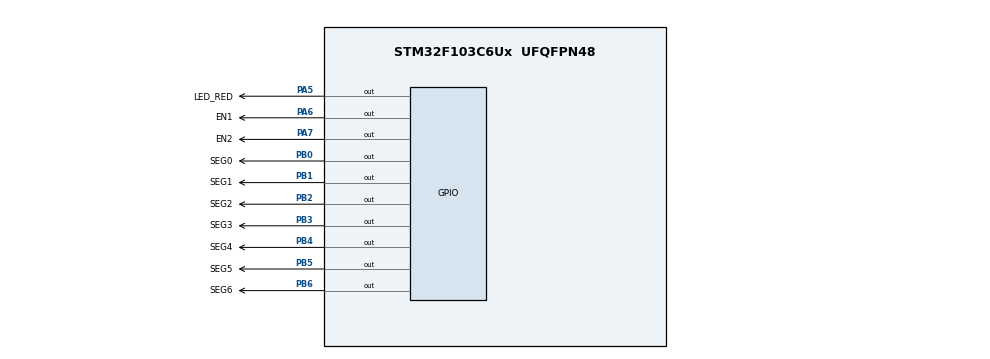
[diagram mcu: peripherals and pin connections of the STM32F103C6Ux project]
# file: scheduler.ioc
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Mcu.Family=STM32F1
Mcu.Name=STM32F103C6Ux
Mcu.Package=UFQFPN48
NVIC.PriorityGroup=NVIC_PRIORITYGROUP_4
NVIC.TIM2_IRQn=true\:0\:0\:false\:false\:true\:true\:true
PA5.GPIO_Label=LED_RED
PA5.Signal=GPIO_Output
PA6.GPIO_Label=EN1
PA6.Signal=GPIO_Output
PA7.GPIO_Label=EN2
PA7.Signal=GPIO_Output
PB0.GPIO_Label=SEG0
PB0.Signal=GPIO_Output
PB1.GPIO_Label=SEG1
PB1.Signal=GPIO_Output
PB2.GPIO_Label=SEG2
PB2.Signal=GPIO_Output
PB3.GPIO_Label=SEG3
PB3.Signal=GPIO_Output
PB4.GPIO_Label=SEG4
PB4.Signal=GPIO_Output
PB5.GPIO_Label=SEG5
PB5.Signal=GPIO_Output
PB6.GPIO_Label=SEG6
PB6.Signal=GPIO_Output
ProjectManager.HeapSize=0x200
ProjectManager.StackSize=0x400
ProjectManager.TargetToolchain=STM32CubeIDE
RCC.APB1Freq_Value=8000000
RCC.APB2Freq_Value=8000000
TIM2.Period=9
TIM2.Prescaler=7999
VP_SYS_VS_ND.Mode=No_Debug
VP_TIM2_VS_ClockSourceINT.Mode=Internal
board=custom

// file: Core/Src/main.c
/* USER CODE BEGIN Header */
/**
  ******************************************************************************
  * @file           : main.c
  * @brief          : Main program body
  ******************************************************************************
  * @attention
  *
  * <h2><center>&copy; Copyright (c) 2022 STMicroelectronics.
  * All rights reserved.</center></h2>
  *
  * This software component is licensed by ST under BSD 3-Clause license,
  * the "License"; You may not use this file except in compliance with the
  * License. You may obtain a copy of the License at:
  *                        opensource.org/licenses/BSD-3-Clause
  *
  ******************************************************************************
  */
/* USER CODE END Header */
#include "main.h"

/* USER CODE BEGIN Includes */
#include "scheduler.h"
/* USER CODE END Includes */

TIM_HandleTypeDef htim2;

void SystemClock_Config(void);
static void MX_TIM2_Init(void);
static void MX_GPIO_Init(void);

/* USER CODE BEGIN 0 */
int index_led = 0;
int led_buffer [2] = {0, 0};
int count = 0;

void display7SEG(int num){
	if (num == 0){
		HAL_GPIO_WritePin (SEG0_GPIO_Port, SEG0_Pin, GPIO_PIN_RESET);
		HAL_GPIO_WritePin (SEG1_GPIO_Port, SEG1_Pin, GPIO_PIN_RESET);
		HAL_GPIO_WritePin (SEG2_GPIO_Port, SEG2_Pin, GPIO_PIN_RESET);
		HAL_GPIO_WritePin (SEG3_GPIO_Port, SEG3_Pin, GPIO_PIN_RESET);
		HAL_GPIO_WritePin (SEG4_GPIO_Port, SEG4_Pin, GPIO_PIN_RESET);
		HAL_GPIO_WritePin (SEG5_GPIO_Port, SEG5_Pin, GPIO_PIN_RESET);
		HAL_GPIO_WritePin (SEG6_GPIO_Port, SEG6_Pin, GPIO_PIN_SET);
	}
	if (num == 1){
		HAL_GPIO_WritePin (SEG0_GPIO_Port, SEG0_Pin, GPIO_PIN_SET);
		HAL_GPIO_WritePin (SEG1_GPIO_Port, SEG1_Pin, GPIO_PIN_RESET);
		HAL_GPIO_WritePin (SEG2_GPIO_Port, SEG2_Pin, GPIO_PIN_RESET);
		HAL_GPIO_WritePin (SEG3_GPIO_Port, SEG3_Pin, GPIO_PIN_SET);
		HAL_GPIO_WritePin (SEG4_GPIO_Port, SEG4_Pin, GPIO_PIN_SET);
		HAL_GPIO_WritePin (SEG5_GPIO_Port, SEG5_Pin, GPIO_PIN_SET);
		HAL_GPIO_WritePin (SEG6_GPIO_Port, SEG6_Pin, GPIO_PIN_SET);
	}
	if (num == 2){
		HAL_GPIO_WritePin (SEG0_GPIO_Port, SEG0_Pin, GPIO_PIN_RESET);
		HAL_GPIO_WritePin (SEG1_GPIO_Port, SEG1_Pin, GPIO_PIN_RESET);
		HAL_GPIO_WritePin (SEG2_GPIO_Port, SEG2_Pin, GPIO_PIN_SET);
		HAL_GPIO_WritePin (SEG3_GPIO_Port, SEG3_Pin, GPIO_PIN_RESET);
		HAL_GPIO_WritePin (SEG4_GPIO_Port, SEG4_Pin, GPIO_PIN_RESET);
		HAL_GPIO_WritePin (SEG5_GPIO_Port, SEG5_Pin, GPIO_PIN_SET);
		HAL_GPIO_WritePin (SEG6_GPIO_Port, SEG6_Pin, GPIO_PIN_RESET);
	}
	if (num == 3){
		HAL_GPIO_WritePin (SEG0_GPIO_Port, SEG0_Pin, GPIO_PIN_RESET);
		HAL_GPIO_WritePin (SEG1_GPIO_Port, SEG1_Pin, GPIO_PIN_RESET);
		HAL_GPIO_WritePin (SEG2_GPIO_Port, SEG2_Pin, GPIO_PIN_RESET);
		HAL_GPIO_WritePin (SEG3_GPIO_Port, SEG3_Pin, GPIO_PIN_RESET);
		HAL_GPIO_WritePin (SEG4_GPIO_Port, SEG4_Pin, GPIO_PIN_SET);
		HAL_GPIO_WritePin (SEG5_GPIO_Port, SEG5_Pin, GPIO_PIN_SET);
		HAL_GPIO_WritePin (SEG6_GPIO_Port, SEG6_Pin, GPIO_PIN_RESET);
	}
	if (num == 4){
		HAL_GPIO_WritePin (SEG0_GPIO_Port, SEG0_Pin, GPIO_PIN_SET);
		HAL_GPIO_WritePin (SEG1_GPIO_Port, SEG1_Pin, GPIO_PIN_RESET);
		HAL_GPIO_WritePin (SEG2_GPIO_Port, SEG2_Pin, GPIO_PIN_RESET);
		HAL_GPIO_WritePin (SEG3_GPIO_Port, SEG3_Pin, GPIO_PIN_SET);
		HAL_GPIO_WritePin (SEG4_GPIO_Port, SEG4_Pin, GPIO_PIN_SET);
		HAL_GPIO_WritePin (SEG5_GPIO_Port, SEG5_Pin, GPIO_PIN_RESET);
		HAL_GPIO_WritePin (SEG6_GPIO_Port, SEG6_Pin, GPIO_PIN_RESET);
	}
	if (num == 5){
		HAL_GPIO_WritePin (SEG0_GPIO_Port, SEG0_Pin, GPIO_PIN_RESET);
		HAL_GPIO_WritePin (SEG1_GPIO_Port, SEG1_Pin, GPIO_PIN_SET);
		HAL_GPIO_WritePin (SEG2_GPIO_Port, SEG2_Pin, GPIO_PIN_RESET);
		HAL_GPIO_WritePin (SEG3_GPIO_Port, SEG3_Pin, GPIO_PIN_RESET);
		HAL_GPIO_WritePin (SEG4_GPIO_Port, SEG4_Pin, GPIO_PIN_SET);
		HAL_GPIO_WritePin (SEG5_GPIO_Port, SEG5_Pin, GPIO_PIN_RESET);
		HAL_GPIO_WritePin (SEG6_GPIO_Port, SEG6_Pin, GPIO_PIN_RESET);
	}
	if (num == 6){
		HAL_GPIO_WritePin (SEG0_GPIO_Port, SEG0_Pin, GPIO_PIN_RESET);
		HAL_GPIO_WritePin (SEG1_GPIO_Port, SEG1_Pin, GPIO_PIN_SET);
		HAL_GPIO_WritePin (SEG2_GPIO_Port, SEG2_Pin, GPIO_PIN_RESET);
		HAL_GPIO_WritePin (SEG3_GPIO_Port, SEG3_Pin, GPIO_PIN_RESET);
		HAL_GPIO_WritePin (SEG4_GPIO_Port, SEG4_Pin, GPIO_PIN_RESET);
		HAL_GPIO_WritePin (SEG5_GPIO_Port, SEG5_Pin, GPIO_PIN_RESET);
		HAL_GPIO_WritePin (SEG6_GPIO_Port, SEG6_Pin, GPIO_PIN_RESET);
	}
	if (num == 7){
		HAL_GPIO_WritePin (SEG0_GPIO_Port, SEG0_Pin, GPIO_PIN_RESET);
		HAL_GPIO_WritePin (SEG1_GPIO_Port, SEG1_Pin, GPIO_PIN_RESET);
		HAL_GPIO_WritePin (SEG2_GPIO_Port, SEG2_Pin, GPIO_PIN_RESET);
		HAL_GPIO_WritePin (SEG3_GPIO_Port, SEG3_Pin, GPIO_PIN_SET);
		HAL_GPIO_WritePin (SEG4_GPIO_Port, SEG4_Pin, GPIO_PIN_SET);
		HAL_GPIO_WritePin (SEG5_GPIO_Port, SEG5_Pin, GPIO_PIN_SET);
		HAL_GPIO_WritePin (SEG6_GPIO_Port, SEG6_Pin, GPIO_PIN_SET);
	}
	if (num == 8){
		HAL_GPIO_WritePin (SEG0_GPIO_Port, SEG0_Pin, GPIO_PIN_RESET);
		HAL_GPIO_WritePin (SEG1_GPIO_Port, SEG1_Pin, GPIO_PIN_RESET);
		HAL_GPIO_WritePin (SEG2_GPIO_Port, SEG2_Pin, GPIO_PIN_RESET);
		HAL_GPIO_WritePin (SEG3_GPIO_Port, SEG3_Pin, GPIO_PIN_RESET);
		HAL_GPIO_WritePin (SEG4_GPIO_Port, SEG4_Pin, GPIO_PIN_RESET);
		HAL_GPIO_WritePin (SEG5_GPIO_Port, SEG5_Pin, GPIO_PIN_RESET);
		HAL_GPIO_WritePin (SEG6_GPIO_Port, SEG6_Pin, GPIO_PIN_RESET);
	}
	if (num == 9){
		HAL_GPIO_WritePin (SEG0_GPIO_Port, SEG0_Pin, GPIO_PIN_RESET);
		HAL_GPIO_WritePin (SEG1_GPIO_Port, SEG1_Pin, GPIO_PIN_RESET);
		HAL_GPIO_WritePin (SEG2_GPIO_Port, SEG2_Pin, GPIO_PIN_RESET);
		HAL_GPIO_WritePin (SEG3_GPIO_Port, SEG3_Pin, GPIO_PIN_RESET);
		HAL_GPIO_WritePin (SEG4_GPIO_Port, SEG4_Pin, GPIO_PIN_SET);
		HAL_GPIO_WritePin (SEG5_GPIO_Port, SEG5_Pin, GPIO_PIN_RESET);
		HAL_GPIO_WritePin (SEG6_GPIO_Port, SEG6_Pin, GPIO_PIN_RESET);
	}
}

//void clearAllLeds(){
//	HAL_GPIO_WritePin(LED_1_GPIO_Port, LED_1_Pin, GPIO_PIN_SET);
//	HAL_GPIO_WritePin(LED_2_GPIO_Port, LED_2_Pin, GPIO_PIN_SET);
//	HAL_GPIO_WritePin(LED_3_GPIO_Port, LED_3_Pin, GPIO_PIN_SET);
//	HAL_GPIO_WritePin(LED_4_GPIO_Port, LED_4_Pin, GPIO_PIN_SET);
//	HAL_GPIO_WritePin(LED_5_GPIO_Port, LED_5_Pin, GPIO_PIN_SET);
//	HAL_GPIO_WritePin(LED_6_GPIO_Port, LED_6_Pin, GPIO_PIN_SET);
//	HAL_GPIO_WritePin(LED_7_GPIO_Port, LED_7_Pin, GPIO_PIN_SET);
//	HAL_GPIO_WritePin(LED_8_GPIO_Port, LED_8_Pin, GPIO_PIN_SET);
//	HAL_GPIO_WritePin(LED_9_GPIO_Port, LED_9_Pin, GPIO_PIN_SET);
//}

void task0(){
	switch(index_led){
		case 0:
			HAL_GPIO_WritePin(EN1_GPIO_Port, EN1_Pin, GPIO_PIN_RESET);
			HAL_GPIO_WritePin(EN2_GPIO_Port, EN2_Pin, GPIO_PIN_SET);
			display7SEG(led_buffer[0]);
			index_led++;
			break;
		case 1:
			HAL_GPIO_WritePin(EN1_GPIO_Port, EN1_Pin, GPIO_PIN_SET);
			HAL_GPIO_WritePin(EN2_GPIO_Port, EN2_Pin, GPIO_PIN_RESET);
			display7SEG(led_buffer[1]);
			index_led = 0;
			break;
	}
}
int i = 0;
void task1(){
	led_buffer[0] = count / 10;
	led_buffer[1] = count % 10;
}
int j;
void task2(){
	if (count % 2 != 0){
		count++;
	}
	count++;
	if (count >= 99)
		count = 0;
}

void task3(){
	HAL_GPIO_TogglePin(LED_RED_GPIO_Port, LED_RED_Pin);
}

void task4(){
	HAL_GPIO_TogglePin(LED_RED_GPIO_Port, LED_RED_Pin);
}
/* USER CODE END 0 */

int main(void)
{

  /* MCU Configuration--------------------------------------------------------*/

  /* Reset of all peripherals, Initializes the Flash interface and the Systick. */
  HAL_Init();

  /* Configure the system clock */
  SystemClock_Config();

  /* Initialize all configured peripherals */
  MX_TIM2_Init();
  MX_GPIO_Init();
  /* USER CODE BEGIN 2 */
  HAL_TIM_Base_Start_IT(&htim2);
  /* USER CODE END 2 */

  /* Infinite loop */
  /* USER CODE BEGIN WHILE */
  SCH_Add_Task(task0, 5, 50);
  SCH_Add_Task(task1, 25, 100);
  SCH_Add_Task(task2, 0, 150);
  SCH_Add_Task(task3, 3, 200);
  SCH_Add_Task(task4, 4, 250);
  while (1)
  {
	  SCH_Dispatch_Tasks();
    /* USER CODE END WHILE */

  }
}

void SystemClock_Config(void)
{
  RCC_OscInitTypeDef RCC_OscInitStruct = {0};
  RCC_ClkInitTypeDef RCC_ClkInitStruct = {0};

  /** Initializes the RCC Oscillators according to the specified parameters
  * in the RCC_OscInitTypeDef structure.
  */
  RCC_OscInitStruct.OscillatorType = RCC_OSCILLATORTYPE_HSI;
  RCC_OscInitStruct.HSIState = RCC_HSI_ON;
  RCC_OscInitStruct.HSICalibrationValue = RCC_HSICALIBRATION_DEFAULT;
  RCC_OscInitStruct.PLL.PLLState = RCC_PLL_NONE;
  if (HAL_RCC_OscConfig(&RCC_OscInitStruct) != HAL_OK)
  {
    Error_Handler();
  }
  /** Initializes the CPU, AHB and APB buses clocks
  */
  RCC_ClkInitStruct.ClockType = RCC_CLOCKTYPE_HCLK|RCC_CLOCKTYPE_SYSCLK
                              |RCC_CLOCKTYPE_PCLK1|RCC_CLOCKTYPE_PCLK2;
  RCC_ClkInitStruct.SYSCLKSource = RCC_SYSCLKSOURCE_HSI;
  RCC_ClkInitStruct.AHBCLKDivider = RCC_SYSCLK_DIV1;
  RCC_ClkInitStruct.APB1CLKDivider = RCC_HCLK_DIV1;
  RCC_ClkInitStruct.APB2CLKDivider = RCC_HCLK_DIV1;

  if (HAL_RCC_ClockConfig(&RCC_ClkInitStruct, FLASH_LATENCY_0) != HAL_OK)
  {
    Error_Handler();
  }
}

static void MX_TIM2_Init(void)
{

  TIM_ClockConfigTypeDef sClockSourceConfig = {0};
  TIM_MasterConfigTypeDef sMasterConfig = {0};

  htim2.Instance = TIM2;
  htim2.Init.Prescaler = 7999;
  htim2.Init.CounterMode = TIM_COUNTERMODE_UP;
  htim2.Init.Period = 9;
  htim2.Init.ClockDivision = TIM_CLOCKDIVISION_DIV1;
  htim2.Init.AutoReloadPreload = TIM_AUTORELOAD_PRELOAD_DISABLE;
  if (HAL_TIM_Base_Init(&htim2) != HAL_OK)
  {
    Error_Handler();
  }
  sClockSourceConfig.ClockSource = TIM_CLOCKSOURCE_INTERNAL;
  if (HAL_TIM_ConfigClockSource(&htim2, &sClockSourceConfig) != HAL_OK)
  {
    Error_Handler();
  }
  sMasterConfig.MasterOutputTrigger = TIM_TRGO_RESET;
  sMasterConfig.MasterSlaveMode = TIM_MASTERSLAVEMODE_DISABLE;
  if (HAL_TIMEx_MasterConfigSynchronization(&htim2, &sMasterConfig) != HAL_OK)
  {
    Error_Handler();
  }

}

static void MX_GPIO_Init(void)
{
  GPIO_InitTypeDef GPIO_InitStruct = {0};

  /* GPIO Ports Clock Enable */
  __HAL_RCC_GPIOA_CLK_ENABLE();
  __HAL_RCC_GPIOB_CLK_ENABLE();

  /*Configure GPIO pin Output Level */
  HAL_GPIO_WritePin(GPIOA, LED_RED_Pin|EN1_Pin|EN2_Pin, GPIO_PIN_RESET);

  /*Configure GPIO pin Output Level */
  HAL_GPIO_WritePin(GPIOB, SEG0_Pin|SEG1_Pin|SEG2_Pin|SEG3_Pin
                          |SEG4_Pin|SEG5_Pin|SEG6_Pin, GPIO_PIN_RESET);

  /*Configure GPIO pins : LED_RED_Pin EN1_Pin EN2_Pin */
  GPIO_InitStruct.Pin = LED_RED_Pin|EN1_Pin|EN2_Pin;
  GPIO_InitStruct.Mode = GPIO_MODE_OUTPUT_PP;
  GPIO_InitStruct.Pull = GPIO_NOPULL;
  GPIO_InitStruct.Speed = GPIO_SPEED_FREQ_LOW;
  HAL_GPIO_Init(GPIOA, &GPIO_InitStruct);

  /*Configure GPIO pins : SEG0_Pin SEG1_Pin SEG2_Pin SEG3_Pin
                           SEG4_Pin SEG5_Pin SEG6_Pin */
  GPIO_InitStruct.Pin = SEG0_Pin|SEG1_Pin|SEG2_Pin|SEG3_Pin
                          |SEG4_Pin|SEG5_Pin|SEG6_Pin;
  GPIO_InitStruct.Mode = GPIO_MODE_OUTPUT_PP;
  GPIO_InitStruct.Pull = GPIO_NOPULL;
  GPIO_InitStruct.Speed = GPIO_SPEED_FREQ_LOW;
  HAL_GPIO_Init(GPIOB, &GPIO_InitStruct);

}

/* USER CODE BEGIN 4 */
void HAL_TIM_PeriodElapsedCallback(TIM_HandleTypeDef *htim){
	SCH_Update();
}
/* USER CODE END 4 */

void Error_Handler(void)
{
  __disable_irq();
  while (1)
  {
  }
}

/************************ (C) COPYRIGHT STMicroelectronics *****END OF FILE****/
